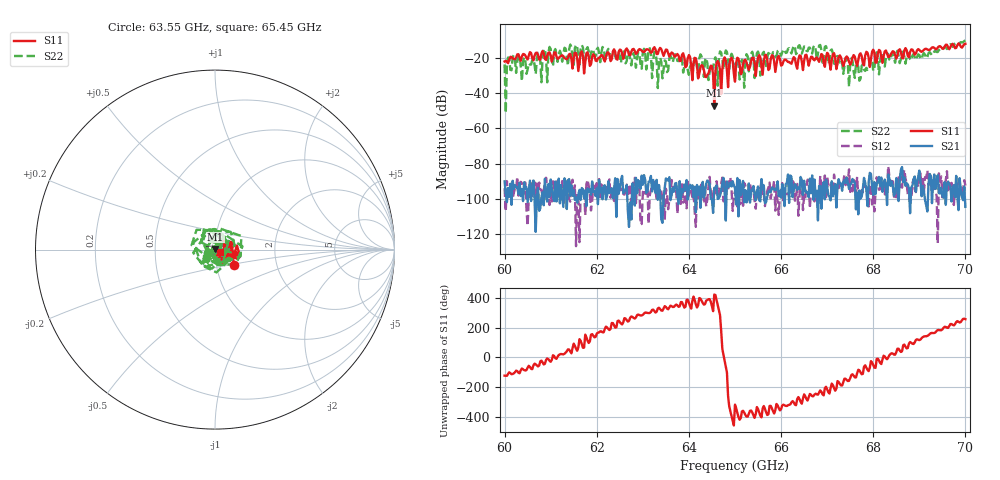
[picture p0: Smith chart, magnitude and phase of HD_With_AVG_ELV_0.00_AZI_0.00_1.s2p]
! 11/25/2026 10:06:46 AM
! C:\ANRITSUVNA\TEMP\TEMP.S2P
! CHANNEL.1
! TR.MEASUREMENT
! RAW.DATA
# HZ S RI R 50.0
! FREQ.HZ  S11RE  S11IM  S21RE  S21IM  S12RE  S12IM  S22RE  S22IM
!; PortSelection: Port_12
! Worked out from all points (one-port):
!   401 points, 60 GHz to 70 GHz, reference 50 ohm
!   lowest |S11| = -47.1 dB at 64.55 GHz (marker M1), VSWR 1.01, Z = 50.2 + j0.388 ohm
!   |S11| at or under -10 dB: start of sweep to end of sweep
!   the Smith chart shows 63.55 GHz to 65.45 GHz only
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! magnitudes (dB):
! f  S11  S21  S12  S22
! 60 GHz  -21.9  -90.2  -94.0  -23.7
! 60.25 GHz  -19.7  -93.4  -94.5  -28.4
! 60.52 GHz  -18.5  -96.0  -98.1  -23.0
! 61 GHz  -18.6  -89.0  -91.7  -14.8
! 61.67 GHz  -16.2  -93.9  -97.0  -12.7
! 63.1 GHz  -15.0  -96.0  -93.3  -21.5
! 63.35 GHz  -15.3  -92.2  -98.4  -22.9
! 63.65 GHz  -17.3  -93.8  -94.5  -22.4
! 64.03 GHz  -19.4  -92.1  -94.2  -24.8
! 64.28 GHz  -24.1  -94.7  -91.8  -19.1
! 64.47 GHz  -24.3  -99.9  -97.1  -23.7
! 64.55 GHz  -47.1  -93.8  -94.6  -21.0
! 64.62 GHz  -21.7  -100.1  -95.6  -35.7
! 64.8 GHz  -21.4  -112.4  -90.3  -15.7
! 65 GHz  -33.4  -94.0  -95.9  -32.0
! 65.15 GHz  -28.1  -92.9  -92.9  -21.0
! 65.33 GHz  -24.9  -102.2  -91.0  -24.4
! 66.67 GHz  -19.3  -86.7  -96.5  -17.4
! 67.75 GHz  -19.0  -98.7  -95.1  -24.3
! 68.35 GHz  -19.2  -88.4  -87.1  -20.9
! 69.1 GHz  -15.3  -95.9  -96.1  -17.2
! 70 GHz  -11.9  -104.6  -92.5  -10.0
